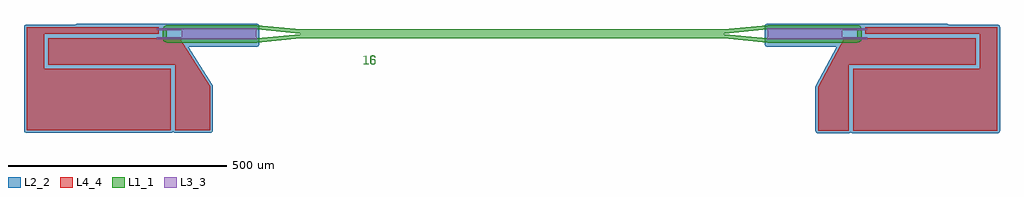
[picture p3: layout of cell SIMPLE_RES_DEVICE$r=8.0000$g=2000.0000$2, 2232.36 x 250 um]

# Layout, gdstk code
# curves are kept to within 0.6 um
import gdstk
lib = gdstk.Library(unit=1e-6, precision=1e-10)
def P(c, l, *ps):  # polygons
    for p in ps: c.add(gdstk.Polygon(p, *l))
L1_1 = (1, 1)
L2_2 = (2, 2)
L3_3 = (3, 3)
L4_4 = (4, 4)

simple_res_device_r_8_00 = lib.new_cell('SIMPLE_RES_DEVICE$r=8.0000$g=2000.0000$2')
P(simple_res_device_r_8_00, L1_1, [(-2310.382,-15.25),(-2316.7259,-12.9801),(-2319.2012,-9.964),(-2320.3338,-6.2302),(-2319.9514,17.6528),(-2316.7259,22.4801),(-2311.3622,24.7018),(-2105.182,24.75),(-2004.713,15.35),(-1520.6,15.35),(-1520.6,5.35),(-2005.182,5.35),(-2105.182,14.75),(-2310.382,14.75),(-2310.382,-5.25),(-2105.182,-5.25),(-2005.182,4.15),(-1520.6,4.15),(-1520.6,-5.85),(-2004.713,-5.85),(-2105.182,-15.25)],
  [(-936.018,-15.25),(-1036.487,-5.85),(-1520.6,-5.85),(-1520.6,4.15),(-1036.018,4.15),(-936.018,-5.25),(-730.818,-5.25),(-730.818,14.75),(-936.018,14.75),(-1036.018,5.35),(-1520.6,5.35),(-1520.6,15.35),(-1036.487,15.35),(-936.018,24.75),(-730.818,24.75),(-724.4741,22.4801),(-721.2486,17.6528),(-720.818,-5.25),(-721.5792,-9.0768),(-723.7469,-12.3211),(-726.9912,-14.4888),(-730.818,-15.25)],
  [(-1839.755,-65.578),(-1842.103,-65.172),(-1843.107,-64.724),(-1844.055,-63.972),(-1844.601,-63.122),(-1844.879,-62.086),(-1844.893,-48.736),(-1844.419,-46.78),(-1843.723,-45.988),(-1842.689,-45.36),(-1840.317,-44.846),(-1838.215,-44.848),(-1835.843,-45.362),(-1834.261,-46.496),(-1833.637,-48.086),(-1833.637,-49.724),(-1835.123,-49.724),(-1835.123,-48.282),(-1835.653,-47.306),(-1836.657,-46.692),(-1837.779,-46.344),(-1838.807,-46.22),(-1840.933,-46.456),(-1842.063,-46.906),(-1842.925,-47.546),(-1843.407,-48.546),(-1843.407,-61.724),(-1843.075,-62.788),(-1842.199,-63.52),(-1839.843,-64.2),(-1837.565,-64.074),(-1836.427,-63.696),(-1835.471,-63.08),(-1834.879,-62.18),(-1834.879,-57.108),(-1835.211,-56.026),(-1836.071,-55.288),(-1838.357,-54.696),(-1840.539,-54.772),(-1841.653,-55.056),(-1842.381,-55.544),(-1842.381,-54.044),(-1841.415,-53.644),(-1839.013,-53.334),(-1836.531,-53.558),(-1835.345,-53.962),(-1834.325,-54.626),(-1833.629,-55.65),(-1833.393,-56.688),(-1833.393,-61.724),(-1833.519,-62.82),(-1834.057,-63.896),(-1834.887,-64.648),(-1836.997,-65.42)],
  [(-1860.601,-65.22),(-1860.601,-63.87),(-1855.289,-63.87),(-1855.289,-46.736),(-1860.601,-48.1),(-1860.601,-46.7),(-1853.805,-44.946),(-1853.805,-63.87),(-1848.353,-63.87),(-1848.353,-63.87),(-1848.353,-65.22)])
P(simple_res_device_r_8_00, L2_2, [(-820.818,-222.5),(-824.6244,-221.1381),(-826.7891,-217.0881),(-826.7005,-115.3184),(-777.9087,-24.5),(-938.5597,-24.2416),(-941.4561,-22.3064),(-942.818,-18.5),(-942.7891,22.0881),(-941.8068,24.8334),(-939.6464,26.7915),(-936.818,27.5),(-526.818,27.5),(-522.3554,25.5),(-410.818,25.5),(-407.9896,24.7915),(-405.5265,22.3284),(-404.818,19.5),(-404.818,-216.5),(-405.5265,-219.3284),(-407.9896,-221.7915),(-410.818,-222.5),(-740.818,-222.5),(-743.6464,-221.7915),(-745.818,-219.8148),(-747.9896,-221.7915),(-750.818,-222.5)],
  [(-2631.182,-221.5),(-2635.4246,-219.7426),(-2637.182,-215.5),(-2637.182,19.5),(-2636.1708,22.8334),(-2633.4781,25.0433),(-2519.6446,25.5),(-2515.182,27.5),(-2105.182,27.5),(-2101.8486,26.4888),(-2099.6387,23.7961),(-2099.2109,-19.0881),(-2100.5439,-22.3064),(-2103.4403,-24.2416),(-2261.9792,-24.5),(-2205.4213,-113.8225),(-2205.182,-215.5),(-2206.1932,-218.8334),(-2208.8859,-221.0433),(-2291.182,-221.5),(-2294.0104,-220.7915),(-2296.182,-218.8148),(-2298.3536,-220.7915),(-2301.182,-221.5)])
P(simple_res_device_r_8_00, L3_3, [(-936.818,-8),(-936.818,-3),(-936.363,-3),(-936.363,11.75),(-935.918,11.75),(-935.918,-3),(-935.918,-3),(-934.563,-3),(-934.563,11.75),(-934.118,11.75),(-934.118,-3),(-932.763,-3),(-932.763,11.75),(-932.318,11.75),(-932.318,-3),(-930.963,-3),(-930.963,11.75),(-930.518,11.75),(-930.518,-3),(-929.163,-3),(-929.163,11.75),(-928.718,11.75),(-928.718,-3),(-927.363,-3),(-927.363,11.75),(-926.918,11.75),(-926.918,-3),(-925.563,-3),(-925.563,11.75),(-925.118,11.75),(-925.118,-3),(-923.763,-3),(-923.763,11.75),(-923.318,11.75),(-923.318,-3),(-921.963,-3),(-921.963,11.75),(-921.518,11.75),(-921.518,-3),(-920.163,-3),(-920.163,11.75),(-919.718,11.75),(-919.718,-3),(-918.363,-3),(-918.363,11.75),(-917.918,11.75),(-917.918,-3),(-916.563,-3),(-916.563,11.75),(-916.118,11.75),(-916.118,-3),(-914.763,-3),(-914.763,11.75),(-914.318,11.75),(-914.318,-3),(-912.963,-3),(-912.963,11.75),(-912.518,11.75),(-912.518,-3),(-911.163,-3),(-911.163,11.75),(-910.718,11.75),(-910.718,-3),(-909.363,-3),(-909.363,11.75),(-908.918,11.75),(-908.918,-3),(-907.563,-3),(-907.563,11.75),(-907.118,11.75),(-907.118,-3),(-905.763,-3),(-905.763,11.75),(-905.318,11.75),(-905.318,-3),(-903.963,-3),(-903.963,11.75),(-903.518,11.75),(-903.518,-3),(-902.163,-3),(-902.163,11.75),(-901.718,11.75),(-901.718,-3),(-900.363,-3),(-900.363,11.75),(-899.918,11.75),(-899.918,-3),(-898.563,-3),(-898.563,11.75),(-898.118,11.75),(-898.118,-3),(-896.763,-3),(-896.763,11.75),(-896.318,11.75),(-896.318,-3),(-894.963,-3),(-894.963,11.75),(-894.518,11.75),(-894.518,-3),(-893.163,-3),(-893.163,11.75),(-892.718,11.75),(-892.718,-3),(-891.363,-3),(-891.363,11.75),(-890.918,11.75),(-890.918,-3),(-889.563,-3),(-889.563,11.75),(-889.118,11.75),(-889.118,-3),(-887.763,-3),(-887.763,11.75),(-887.318,11.75),(-887.318,-3),(-885.963,-3),(-885.963,11.75),(-885.518,11.75),(-885.518,-3),(-884.163,-3),(-884.163,11.75),(-883.718,11.75),(-883.718,-3),(-882.363,-3),(-882.363,11.75),(-881.918,11.75),(-881.918,-3),(-880.563,-3),(-880.563,11.75),(-880.118,11.75),(-880.118,-3),(-878.763,-3),(-878.763,11.75),(-878.318,11.75),(-878.318,-3),(-876.963,-3),(-876.963,11.75),(-876.518,11.75),(-876.518,-3),(-875.163,-3),(-875.163,11.75),(-874.718,11.75),(-874.718,-3),(-873.363,-3),(-873.363,11.75),(-872.918,11.75),(-872.918,-3),(-871.563,-3),(-871.563,11.75),(-871.118,11.75),(-871.118,-3),(-869.763,-3),(-869.763,11.75),(-869.318,11.75),(-869.318,-3),(-867.963,-3),(-867.963,11.75),(-867.518,11.75),(-867.518,-3),(-866.163,-3),(-866.163,11.75),(-865.718,11.75),(-865.718,-3),(-864.363,-3),(-864.363,11.75),(-863.918,11.75),(-863.918,-3),(-862.563,-3),(-862.563,11.75),(-862.118,11.75),(-862.118,-3),(-860.763,-3),(-860.763,11.75),(-860.318,11.75),(-860.318,-3),(-858.963,-3),(-858.963,11.75),(-858.518,11.75),(-858.518,-3),(-857.163,-3),(-857.163,11.75),(-856.718,11.75),(-856.718,-3),(-855.363,-3),(-855.363,11.75),(-854.918,11.75),(-854.918,-3),(-853.563,-3),(-853.563,11.75),(-853.118,11.75),(-853.118,-3),(-851.763,-3),(-851.763,11.75),(-851.318,11.75),(-851.318,-3),(-849.963,-3),(-849.963,11.75),(-849.518,11.75),(-849.518,-3),(-848.163,-3),(-848.163,11.75),(-847.718,11.75),(-847.718,-3),(-846.363,-3),(-846.363,11.75),(-845.918,11.75),(-845.918,-3),(-844.563,-3),(-844.563,11.75),(-844.118,11.75),(-844.118,-3),(-842.763,-3),(-842.763,11.75),(-842.318,11.75),(-842.318,-3),(-840.963,-3),(-840.963,11.75),(-840.518,11.75),(-840.518,-3),(-839.163,-3),(-839.163,11.75),(-838.718,11.75),(-838.718,-3),(-837.363,-3),(-837.363,11.75),(-836.918,11.75),(-836.918,-3),(-835.563,-3),(-835.563,11.75),(-835.118,11.75),(-835.118,-3),(-833.763,-3),(-833.763,11.75),(-833.318,11.75),(-833.318,-3),(-831.963,-3),(-831.963,11.75),(-831.518,11.75),(-831.518,-3),(-830.163,-3),(-830.163,11.75),(-829.718,11.75),(-829.718,-3),(-828.363,-3),(-828.363,11.75),(-827.918,11.75),(-827.918,-3),(-826.563,-3),(-826.563,11.75),(-826.118,11.75),(-826.118,-3),(-824.763,-3),(-824.763,11.75),(-824.318,11.75),(-824.318,-3),(-822.963,-3),(-822.963,11.75),(-822.518,11.75),(-822.518,-3),(-821.163,-3),(-821.163,11.75),(-820.718,11.75),(-820.718,-3),(-819.363,-3),(-819.363,11.75),(-818.918,11.75),(-818.918,-3),(-817.563,-3),(-817.563,11.75),(-817.118,11.75),(-817.118,-3),(-815.763,-3),(-815.763,11.75),(-815.318,11.75),(-815.318,-3),(-813.963,-3),(-813.963,11.75),(-813.518,11.75),(-813.518,-3),(-812.163,-3),(-812.163,11.75),(-811.718,11.75),(-811.718,-3),(-810.363,-3),(-810.363,11.75),(-809.918,11.75),(-809.918,-3),(-808.563,-3),(-808.563,11.75),(-808.118,11.75),(-808.118,-3),(-806.763,-3),(-806.763,11.75),(-806.318,11.75),(-806.318,-3),(-804.963,-3),(-804.963,11.75),(-804.518,11.75),(-804.518,-3),(-803.163,-3),(-803.163,11.75),(-802.718,11.75),(-802.718,-3),(-801.363,-3),(-801.363,11.75),(-800.918,11.75),(-800.918,-3),(-799.563,-3),(-799.563,11.75),(-799.118,11.75),(-799.118,-3),(-797.763,-3),(-797.763,11.75),(-797.318,11.75),(-797.318,-3),(-795.963,-3),(-795.963,11.75),(-795.518,11.75),(-795.518,-3),(-794.163,-3),(-794.163,11.75),(-793.718,11.75),(-793.718,-3),(-792.363,-3),(-792.363,11.75),(-791.918,11.75),(-791.918,-3),(-790.563,-3),(-790.563,11.75),(-790.118,11.75),(-790.118,-3),(-788.763,-3),(-788.763,11.75),(-788.318,11.75),(-788.318,-3),(-786.963,-3),(-786.963,11.75),(-786.518,11.75),(-786.518,-3),(-785.163,-3),(-785.163,11.75),(-784.718,11.75),(-784.718,-3),(-783.363,-3),(-783.363,11.75),(-782.918,11.75),(-782.918,-3),(-781.563,-3),(-781.563,11.75),(-781.118,11.75),(-781.118,-3),(-779.763,-3),(-779.763,11.75),(-779.318,11.75),(-779.318,-3),(-777.963,-3),(-777.963,11.75),(-777.518,11.75),(-777.518,-3),(-776.163,-3),(-776.163,11.75),(-775.718,11.75),(-775.718,-3),(-774.363,-3),(-774.363,11.75),(-773.918,11.75),(-773.918,-3),(-772.563,-3),(-772.563,11.75),(-772.118,11.75),(-772.118,-3),(-770.763,-3),(-770.763,11.75),(-770.318,11.75),(-770.318,-3),(-768.963,-3),(-768.963,11.75),(-768.518,11.75),(-768.518,-3),(-767.163,-3),(-767.163,11.75),(-766.718,11.75),(-766.718,-3),(-708.818,-3),(-708.818,-8)],
  [(-935.463,-2.25),(-935.463,12.5),(-936.818,12.5),(-936.818,17.5),(-708.818,17.5),(-708.818,12.5),(-765.818,12.5),(-765.818,-2.25),(-766.263,-2.25),(-766.263,12.5),(-767.618,12.5),(-767.618,-2.25),(-768.063,-2.25),(-768.063,12.5),(-769.418,12.5),(-769.418,-2.25),(-769.863,-2.25),(-769.863,12.5),(-771.218,12.5),(-771.218,-2.25),(-771.663,-2.25),(-771.663,12.5),(-773.018,12.5),(-773.018,-2.25),(-773.463,-2.25),(-773.463,12.5),(-774.818,12.5),(-774.818,-2.25),(-775.263,-2.25),(-775.263,12.5),(-776.618,12.5),(-776.618,-2.25),(-777.063,-2.25),(-777.063,12.5),(-778.418,12.5),(-778.418,-2.25),(-778.863,-2.25),(-778.863,12.5),(-780.218,12.5),(-780.218,-2.25),(-780.663,-2.25),(-780.663,12.5),(-782.018,12.5),(-782.018,-2.25),(-782.463,-2.25),(-782.463,12.5),(-783.818,12.5),(-783.818,-2.25),(-784.263,-2.25),(-784.263,12.5),(-785.618,12.5),(-785.618,-2.25),(-786.063,-2.25),(-786.063,12.5),(-787.418,12.5),(-787.418,-2.25),(-787.863,-2.25),(-787.863,12.5),(-789.218,12.5),(-789.218,-2.25),(-789.663,-2.25),(-789.663,12.5),(-791.018,12.5),(-791.018,-2.25),(-791.463,-2.25),(-791.463,12.5),(-792.818,12.5),(-792.818,-2.25),(-793.263,-2.25),(-793.263,12.5),(-794.618,12.5),(-794.618,-2.25),(-795.063,-2.25),(-795.063,12.5),(-796.418,12.5),(-796.418,-2.25),(-796.863,-2.25),(-796.863,12.5),(-798.218,12.5),(-798.218,-2.25),(-798.663,-2.25),(-798.663,12.5),(-800.018,12.5),(-800.018,-2.25),(-800.463,-2.25),(-800.463,12.5),(-801.818,12.5),(-801.818,-2.25),(-802.263,-2.25),(-802.263,12.5),(-803.618,12.5),(-803.618,-2.25),(-804.063,-2.25),(-804.063,12.5),(-805.418,12.5),(-805.418,-2.25),(-805.863,-2.25),(-805.863,12.5),(-807.218,12.5),(-807.218,-2.25),(-807.663,-2.25),(-807.663,12.5),(-809.018,12.5),(-809.018,-2.25),(-809.463,-2.25),(-809.463,12.5),(-810.818,12.5),(-810.818,-2.25),(-811.263,-2.25),(-811.263,12.5),(-812.618,12.5),(-812.618,-2.25),(-813.063,-2.25),(-813.063,12.5),(-814.418,12.5),(-814.418,-2.25),(-814.863,-2.25),(-814.863,12.5),(-816.218,12.5),(-816.218,-2.25),(-816.663,-2.25),(-816.663,12.5),(-818.018,12.5),(-818.018,-2.25),(-818.463,-2.25),(-818.463,12.5),(-819.818,12.5),(-819.818,-2.25),(-820.263,-2.25),(-820.263,12.5),(-821.618,12.5),(-821.618,-2.25),(-822.063,-2.25),(-822.063,12.5),(-823.418,12.5),(-823.418,-2.25),(-823.863,-2.25),(-823.863,12.5),(-825.218,12.5),(-825.218,-2.25),(-825.663,-2.25),(-825.663,12.5),(-827.018,12.5),(-827.018,-2.25),(-827.463,-2.25),(-827.463,12.5),(-828.818,12.5),(-828.818,-2.25),(-829.263,-2.25),(-829.263,12.5),(-830.618,12.5),(-830.618,-2.25),(-831.063,-2.25),(-831.063,12.5),(-832.418,12.5),(-832.418,-2.25),(-832.863,-2.25),(-832.863,12.5),(-834.218,12.5),(-834.218,-2.25),(-834.663,-2.25),(-834.663,12.5),(-836.018,12.5),(-836.018,-2.25),(-836.463,-2.25),(-836.463,12.5),(-837.818,12.5),(-837.818,-2.25),(-838.263,-2.25),(-838.263,12.5),(-839.618,12.5),(-839.618,-2.25),(-840.063,-2.25),(-840.063,12.5),(-841.418,12.5),(-841.418,-2.25),(-841.863,-2.25),(-841.863,12.5),(-843.218,12.5),(-843.218,-2.25),(-843.663,-2.25),(-843.663,12.5),(-845.018,12.5),(-845.018,-2.25),(-845.463,-2.25),(-845.463,12.5),(-846.818,12.5),(-846.818,-2.25),(-847.263,-2.25),(-847.263,12.5),(-848.618,12.5),(-848.618,-2.25),(-849.063,-2.25),(-849.063,12.5),(-850.418,12.5),(-850.418,-2.25),(-850.863,-2.25),(-850.863,12.5),(-852.218,12.5),(-852.218,-2.25),(-852.663,-2.25),(-852.663,12.5),(-854.018,12.5),(-854.018,-2.25),(-854.463,-2.25),(-854.463,12.5),(-855.818,12.5),(-855.818,-2.25),(-856.263,-2.25),(-856.263,12.5),(-857.618,12.5),(-857.618,-2.25),(-858.063,-2.25),(-858.063,12.5),(-859.418,12.5),(-859.418,-2.25),(-859.863,-2.25),(-859.863,12.5),(-861.218,12.5),(-861.218,-2.25),(-861.663,-2.25),(-861.663,12.5),(-863.018,12.5),(-863.018,-2.25),(-863.463,-2.25),(-863.463,12.5),(-864.818,12.5),(-864.818,-2.25),(-865.263,-2.25),(-865.263,12.5),(-866.618,12.5),(-866.618,-2.25),(-867.063,-2.25),(-867.063,12.5),(-868.418,12.5),(-868.418,-2.25),(-868.863,-2.25),(-868.863,12.5),(-870.218,12.5),(-870.218,-2.25),(-870.663,-2.25),(-870.663,12.5),(-872.018,12.5),(-872.018,-2.25),(-872.463,-2.25),(-872.463,12.5),(-873.818,12.5),(-873.818,-2.25),(-874.263,-2.25),(-874.263,12.5),(-875.618,12.5),(-875.618,-2.25),(-876.063,-2.25),(-876.063,12.5),(-877.418,12.5),(-877.418,-2.25),(-877.863,-2.25),(-877.863,12.5),(-879.218,12.5),(-879.218,-2.25),(-879.663,-2.25),(-879.663,12.5),(-881.018,12.5),(-881.018,-2.25),(-881.463,-2.25),(-881.463,12.5),(-882.818,12.5),(-882.818,-2.25),(-883.263,-2.25),(-883.263,12.5),(-884.618,12.5),(-884.618,-2.25),(-885.063,-2.25),(-885.063,12.5),(-886.418,12.5),(-886.418,-2.25),(-886.863,-2.25),(-886.863,12.5),(-888.218,12.5),(-888.218,-2.25),(-888.663,-2.25),(-888.663,12.5),(-890.018,12.5),(-890.018,-2.25),(-890.463,-2.25),(-890.463,12.5),(-891.818,12.5),(-891.818,-2.25),(-892.263,-2.25),(-892.263,12.5),(-893.618,12.5),(-893.618,-2.25),(-894.063,-2.25),(-894.063,12.5),(-895.418,12.5),(-895.418,-2.25),(-895.863,-2.25),(-895.863,12.5),(-897.218,12.5),(-897.218,-2.25),(-897.663,-2.25),(-897.663,12.5),(-899.018,12.5),(-899.018,-2.25),(-899.463,-2.25),(-899.463,12.5),(-900.818,12.5),(-900.818,-2.25),(-901.263,-2.25),(-901.263,12.5),(-902.618,12.5),(-902.618,-2.25),(-903.063,-2.25),(-903.063,12.5),(-904.418,12.5),(-904.418,-2.25),(-904.863,-2.25),(-904.863,12.5),(-906.218,12.5),(-906.218,-2.25),(-906.663,-2.25),(-906.663,12.5),(-908.018,12.5),(-908.018,-2.25),(-908.463,-2.25),(-908.463,12.5),(-909.818,12.5),(-909.818,-2.25),(-910.263,-2.25),(-910.263,12.5),(-911.618,12.5),(-911.618,-2.25),(-912.063,-2.25),(-912.063,12.5),(-913.418,12.5),(-913.418,-2.25),(-913.863,-2.25),(-913.863,12.5),(-915.218,12.5),(-915.218,-2.25),(-915.663,-2.25),(-915.663,12.5),(-917.018,12.5),(-917.018,-2.25),(-917.463,-2.25),(-917.463,12.5),(-918.818,12.5),(-918.818,-2.25),(-919.263,-2.25),(-919.263,12.5),(-920.618,12.5),(-920.618,-2.25),(-921.063,-2.25),(-921.063,12.5),(-922.418,12.5),(-922.418,-2.25),(-922.863,-2.25),(-922.863,12.5),(-924.218,12.5),(-924.218,-2.25),(-924.663,-2.25),(-924.663,12.5),(-926.018,12.5),(-926.018,-2.25),(-926.463,-2.25),(-926.463,12.5),(-927.818,12.5),(-927.818,-2.25),(-928.263,-2.25),(-928.263,12.5),(-929.618,12.5),(-929.618,-2.25),(-930.063,-2.25),(-930.063,12.5),(-930.063,12.5),(-931.418,12.5),(-931.418,-2.25),(-931.863,-2.25),(-931.863,12.5),(-933.218,12.5),(-933.218,-2.25),(-933.663,-2.25),(-933.663,12.5),(-935.018,12.5),(-935.018,-2.25)],
  [(-2333.182,-8),(-2333.182,-3),(-2275.282,-3),(-2275.282,11.75),(-2274.837,11.75),(-2274.837,-3),(-2273.482,-3),(-2273.482,11.75),(-2273.037,11.75),(-2273.037,-3),(-2271.682,-3),(-2271.682,11.75),(-2271.237,11.75),(-2271.237,-3),(-2269.882,-3),(-2269.882,11.75),(-2269.437,11.75),(-2269.437,-3),(-2268.082,-3),(-2268.082,11.75),(-2267.637,11.75),(-2267.637,-3),(-2266.282,-3),(-2266.282,11.75),(-2265.837,11.75),(-2265.837,-3),(-2264.482,-3),(-2264.482,11.75),(-2264.037,11.75),(-2264.037,-3),(-2262.682,-3),(-2262.682,11.75),(-2262.237,11.75),(-2262.237,-3),(-2260.882,-3),(-2260.882,11.75),(-2260.437,11.75),(-2260.437,-3),(-2259.082,-3),(-2259.082,11.75),(-2258.637,11.75),(-2258.637,-3),(-2258.637,-3),(-2257.282,-3),(-2257.282,11.75),(-2256.837,11.75),(-2256.837,-3),(-2255.482,-3),(-2255.482,11.75),(-2255.037,11.75),(-2255.037,-3),(-2253.682,-3),(-2253.682,11.75),(-2253.237,11.75),(-2253.237,-3),(-2251.882,-3),(-2251.882,11.75),(-2251.437,11.75),(-2251.437,-3),(-2250.082,-3),(-2250.082,11.75),(-2249.637,11.75),(-2249.637,-3),(-2248.282,-3),(-2248.282,11.75),(-2247.837,11.75),(-2247.837,-3),(-2246.482,-3),(-2246.482,11.75),(-2246.037,11.75),(-2246.037,-3),(-2244.682,-3),(-2244.682,11.75),(-2244.237,11.75),(-2244.237,-3),(-2242.882,-3),(-2242.882,11.75),(-2242.437,11.75),(-2242.437,-3),(-2241.082,-3),(-2241.082,11.75),(-2240.637,11.75),(-2240.637,-3),(-2239.282,-3),(-2239.282,11.75),(-2238.837,11.75),(-2238.837,-3),(-2237.482,-3),(-2237.482,11.75),(-2237.037,11.75),(-2237.037,-3),(-2235.682,-3),(-2235.682,11.75),(-2235.237,11.75),(-2235.237,-3),(-2233.882,-3),(-2233.882,11.75),(-2233.437,11.75),(-2233.437,-3),(-2232.082,-3),(-2232.082,11.75),(-2231.637,11.75),(-2231.637,-3),(-2230.282,-3),(-2230.282,11.75),(-2229.837,11.75),(-2229.837,-3),(-2228.482,-3),(-2228.482,11.75),(-2228.037,11.75),(-2228.037,-3),(-2226.682,-3),(-2226.682,11.75),(-2226.237,11.75),(-2226.237,-3),(-2224.882,-3),(-2224.882,11.75),(-2224.437,11.75),(-2224.437,-3),(-2223.082,-3),(-2223.082,11.75),(-2222.637,11.75),(-2222.637,-3),(-2221.282,-3),(-2221.282,11.75),(-2220.837,11.75),(-2220.837,-3),(-2219.482,-3),(-2219.482,11.75),(-2219.037,11.75),(-2219.037,-3),(-2217.682,-3),(-2217.682,11.75),(-2217.237,11.75),(-2217.237,-3),(-2215.882,-3),(-2215.882,11.75),(-2215.437,11.75),(-2215.437,-3),(-2214.082,-3),(-2214.082,11.75),(-2213.637,11.75),(-2213.637,-3),(-2212.282,-3),(-2212.282,11.75),(-2211.837,11.75),(-2211.837,-3),(-2210.482,-3),(-2210.482,11.75),(-2210.037,11.75),(-2210.037,-3),(-2208.682,-3),(-2208.682,11.75),(-2208.237,11.75),(-2208.237,-3),(-2206.882,-3),(-2206.882,11.75),(-2206.437,11.75),(-2206.437,-3),(-2205.082,-3),(-2205.082,11.75),(-2204.637,11.75),(-2204.637,-3),(-2203.282,-3),(-2203.282,11.75),(-2202.837,11.75),(-2202.837,-3),(-2201.482,-3),(-2201.482,11.75),(-2201.037,11.75),(-2201.037,-3),(-2199.682,-3),(-2199.682,11.75),(-2199.237,11.75),(-2199.237,-3),(-2197.882,-3),(-2197.882,11.75),(-2197.437,11.75),(-2197.437,-3),(-2196.082,-3),(-2196.082,11.75),(-2195.637,11.75),(-2195.637,-3),(-2194.282,-3),(-2194.282,11.75),(-2193.837,11.75),(-2193.837,-3),(-2192.482,-3),(-2192.482,11.75),(-2192.037,11.75),(-2192.037,-3),(-2190.682,-3),(-2190.682,11.75),(-2190.237,11.75),(-2190.237,-3),(-2188.882,-3),(-2188.882,11.75),(-2188.437,11.75),(-2188.437,-3),(-2187.082,-3),(-2187.082,11.75),(-2186.637,11.75),(-2186.637,-3),(-2185.282,-3),(-2185.282,11.75),(-2184.837,11.75),(-2184.837,-3),(-2183.482,-3),(-2183.482,11.75),(-2183.037,11.75),(-2183.037,-3),(-2181.682,-3),(-2181.682,11.75),(-2181.237,11.75),(-2181.237,-3),(-2179.882,-3),(-2179.882,11.75),(-2179.437,11.75),(-2179.437,-3),(-2178.082,-3),(-2178.082,11.75),(-2177.637,11.75),(-2177.637,-3),(-2176.282,-3),(-2176.282,11.75),(-2175.837,11.75),(-2175.837,-3),(-2174.482,-3),(-2174.482,11.75),(-2174.037,11.75),(-2174.037,-3),(-2172.682,-3),(-2172.682,11.75),(-2172.237,11.75),(-2172.237,-3),(-2170.882,-3),(-2170.882,11.75),(-2170.437,11.75),(-2170.437,-3),(-2169.082,-3),(-2169.082,11.75),(-2168.637,11.75),(-2168.637,-3),(-2167.282,-3),(-2167.282,11.75),(-2166.837,11.75),(-2166.837,-3),(-2165.482,-3),(-2165.482,11.75),(-2165.037,11.75),(-2165.037,-3),(-2163.682,-3),(-2163.682,11.75),(-2163.237,11.75),(-2163.237,-3),(-2161.882,-3),(-2161.882,11.75),(-2161.437,11.75),(-2161.437,-3),(-2160.082,-3),(-2160.082,11.75),(-2159.637,11.75),(-2159.637,-3),(-2158.282,-3),(-2158.282,11.75),(-2157.837,11.75),(-2157.837,-3),(-2156.482,-3),(-2156.482,11.75),(-2156.037,11.75),(-2156.037,-3),(-2154.682,-3),(-2154.682,11.75),(-2154.237,11.75),(-2154.237,-3),(-2152.882,-3),(-2152.882,11.75),(-2152.437,11.75),(-2152.437,-3),(-2151.082,-3),(-2151.082,11.75),(-2150.637,11.75),(-2150.637,-3),(-2149.282,-3),(-2149.282,11.75),(-2148.837,11.75),(-2148.837,-3),(-2147.482,-3),(-2147.482,11.75),(-2147.037,11.75),(-2147.037,-3),(-2145.682,-3),(-2145.682,11.75),(-2145.237,11.75),(-2145.237,-3),(-2143.882,-3),(-2143.882,11.75),(-2143.437,11.75),(-2143.437,-3),(-2142.082,-3),(-2142.082,11.75),(-2141.637,11.75),(-2141.637,-3),(-2140.282,-3),(-2140.282,11.75),(-2139.837,11.75),(-2139.837,-3),(-2138.482,-3),(-2138.482,11.75),(-2138.037,11.75),(-2138.037,-3),(-2136.682,-3),(-2136.682,11.75),(-2136.237,11.75),(-2136.237,-3),(-2134.882,-3),(-2134.882,11.75),(-2134.437,11.75),(-2134.437,-3),(-2133.082,-3),(-2133.082,11.75),(-2132.637,11.75),(-2132.637,-3),(-2131.282,-3),(-2131.282,11.75),(-2130.837,11.75),(-2130.837,-3),(-2129.482,-3),(-2129.482,11.75),(-2129.037,11.75),(-2129.037,-3),(-2127.682,-3),(-2127.682,11.75),(-2127.237,11.75),(-2127.237,-3),(-2125.882,-3),(-2125.882,11.75),(-2125.437,11.75),(-2125.437,-3),(-2124.082,-3),(-2124.082,11.75),(-2123.637,11.75),(-2123.637,-3),(-2122.282,-3),(-2122.282,11.75),(-2121.837,11.75),(-2121.837,-3),(-2120.482,-3),(-2120.482,11.75),(-2120.037,11.75),(-2120.037,-3),(-2118.682,-3),(-2118.682,11.75),(-2118.237,11.75),(-2118.237,-3),(-2116.882,-3),(-2116.882,11.75),(-2116.437,11.75),(-2116.437,-3),(-2115.082,-3),(-2115.082,11.75),(-2114.637,11.75),(-2114.637,-3),(-2113.282,-3),(-2113.282,11.75),(-2112.837,11.75),(-2112.837,-3),(-2111.482,-3),(-2111.482,11.75),(-2111.037,11.75),(-2111.037,-3),(-2109.682,-3),(-2109.682,11.75),(-2109.237,11.75),(-2109.237,-3),(-2107.882,-3),(-2107.882,11.75),(-2107.437,11.75),(-2107.437,-3),(-2106.082,-3),(-2106.082,11.75),(-2105.637,11.75),(-2105.637,-3),(-2105.182,-3),(-2105.182,-8)],
  [(-2276.182,-2.25),(-2276.182,12.5),(-2333.182,12.5),(-2333.182,17.5),(-2105.182,17.5),(-2105.182,12.5),(-2106.537,12.5),(-2106.537,-2.25),(-2106.982,-2.25),(-2106.982,12.5),(-2108.337,12.5),(-2108.337,-2.25),(-2108.782,-2.25),(-2108.782,12.5),(-2110.137,12.5),(-2110.137,-2.25),(-2110.582,-2.25),(-2110.582,12.5),(-2111.937,12.5),(-2111.937,-2.25),(-2112.382,-2.25),(-2112.382,12.5),(-2113.737,12.5),(-2113.737,-2.25),(-2114.182,-2.25),(-2114.182,12.5),(-2115.537,12.5),(-2115.537,-2.25),(-2115.982,-2.25),(-2115.982,12.5),(-2117.337,12.5),(-2117.337,-2.25),(-2117.782,-2.25),(-2117.782,12.5),(-2119.137,12.5),(-2119.137,-2.25),(-2119.582,-2.25),(-2119.582,12.5),(-2120.937,12.5),(-2120.937,-2.25),(-2121.382,-2.25),(-2121.382,12.5),(-2122.737,12.5),(-2122.737,-2.25),(-2123.182,-2.25),(-2123.182,12.5),(-2124.537,12.5),(-2124.537,-2.25),(-2124.982,-2.25),(-2124.982,12.5),(-2126.337,12.5),(-2126.337,-2.25),(-2126.782,-2.25),(-2126.782,12.5),(-2128.137,12.5),(-2128.137,-2.25),(-2128.582,-2.25),(-2128.582,12.5),(-2129.937,12.5),(-2129.937,-2.25),(-2130.382,-2.25),(-2130.382,12.5),(-2131.737,12.5),(-2131.737,-2.25),(-2132.182,-2.25),(-2132.182,12.5),(-2133.537,12.5),(-2133.537,-2.25),(-2133.982,-2.25),(-2133.982,12.5),(-2135.337,12.5),(-2135.337,-2.25),(-2135.782,-2.25),(-2135.782,12.5),(-2137.137,12.5),(-2137.137,-2.25),(-2137.582,-2.25),(-2137.582,12.5),(-2138.937,12.5),(-2138.937,-2.25),(-2139.382,-2.25),(-2139.382,12.5),(-2140.737,12.5),(-2140.737,-2.25),(-2141.182,-2.25),(-2141.182,12.5),(-2142.537,12.5),(-2142.537,-2.25),(-2142.982,-2.25),(-2142.982,12.5),(-2144.337,12.5),(-2144.337,-2.25),(-2144.782,-2.25),(-2144.782,12.5),(-2146.137,12.5),(-2146.137,-2.25),(-2146.582,-2.25),(-2146.582,12.5),(-2147.937,12.5),(-2147.937,-2.25),(-2148.382,-2.25),(-2148.382,12.5),(-2149.737,12.5),(-2149.737,-2.25),(-2150.182,-2.25),(-2150.182,12.5),(-2151.537,12.5),(-2151.537,-2.25),(-2151.982,-2.25),(-2151.982,12.5),(-2153.337,12.5),(-2153.337,-2.25),(-2153.782,-2.25),(-2153.782,12.5),(-2155.137,12.5),(-2155.137,-2.25),(-2155.582,-2.25),(-2155.582,12.5),(-2156.937,12.5),(-2156.937,-2.25),(-2157.382,-2.25),(-2157.382,12.5),(-2158.737,12.5),(-2158.737,-2.25),(-2159.182,-2.25),(-2159.182,12.5),(-2160.537,12.5),(-2160.537,-2.25),(-2160.982,-2.25),(-2160.982,12.5),(-2162.337,12.5),(-2162.337,-2.25),(-2162.782,-2.25),(-2162.782,12.5),(-2164.137,12.5),(-2164.137,-2.25),(-2164.582,-2.25),(-2164.582,12.5),(-2165.937,12.5),(-2165.937,-2.25),(-2166.382,-2.25),(-2166.382,12.5),(-2167.737,12.5),(-2167.737,-2.25),(-2168.182,-2.25),(-2168.182,12.5),(-2169.537,12.5),(-2169.537,-2.25),(-2169.982,-2.25),(-2169.982,12.5),(-2171.337,12.5),(-2171.337,-2.25),(-2171.782,-2.25),(-2171.782,12.5),(-2173.137,12.5),(-2173.137,-2.25),(-2173.582,-2.25),(-2173.582,12.5),(-2174.937,12.5),(-2174.937,-2.25),(-2175.382,-2.25),(-2175.382,12.5),(-2176.737,12.5),(-2176.737,-2.25),(-2177.182,-2.25),(-2177.182,12.5),(-2178.537,12.5),(-2178.537,-2.25),(-2178.982,-2.25),(-2178.982,12.5),(-2180.337,12.5),(-2180.337,-2.25),(-2180.782,-2.25),(-2180.782,12.5),(-2182.137,12.5),(-2182.137,-2.25),(-2182.582,-2.25),(-2182.582,12.5),(-2183.937,12.5),(-2183.937,-2.25),(-2184.382,-2.25),(-2184.382,12.5),(-2185.737,12.5),(-2185.737,-2.25),(-2186.182,-2.25),(-2186.182,12.5),(-2187.537,12.5),(-2187.537,-2.25),(-2187.982,-2.25),(-2187.982,12.5),(-2189.337,12.5),(-2189.337,-2.25),(-2189.782,-2.25),(-2189.782,12.5),(-2191.137,12.5),(-2191.137,-2.25),(-2191.582,-2.25),(-2191.582,12.5),(-2192.937,12.5),(-2192.937,-2.25),(-2193.382,-2.25),(-2193.382,12.5),(-2194.737,12.5),(-2194.737,-2.25),(-2195.182,-2.25),(-2195.182,12.5),(-2196.537,12.5),(-2196.537,-2.25),(-2196.982,-2.25),(-2196.982,12.5),(-2198.337,12.5),(-2198.337,-2.25),(-2198.782,-2.25),(-2198.782,12.5),(-2200.137,12.5),(-2200.137,-2.25),(-2200.582,-2.25),(-2200.582,12.5),(-2201.937,12.5),(-2201.937,-2.25),(-2202.382,-2.25),(-2202.382,12.5),(-2203.737,12.5),(-2203.737,-2.25),(-2204.182,-2.25),(-2204.182,12.5),(-2205.537,12.5),(-2205.537,-2.25),(-2205.982,-2.25),(-2205.982,12.5),(-2207.337,12.5),(-2207.337,-2.25),(-2207.782,-2.25),(-2207.782,12.5),(-2209.137,12.5),(-2209.137,-2.25),(-2209.582,-2.25),(-2209.582,12.5),(-2210.937,12.5),(-2210.937,-2.25),(-2211.382,-2.25),(-2211.382,12.5),(-2212.737,12.5),(-2212.737,-2.25),(-2213.182,-2.25),(-2213.182,12.5),(-2214.537,12.5),(-2214.537,-2.25),(-2214.982,-2.25),(-2214.982,12.5),(-2216.337,12.5),(-2216.337,-2.25),(-2216.782,-2.25),(-2216.782,12.5),(-2218.137,12.5),(-2218.137,-2.25),(-2218.582,-2.25),(-2218.582,12.5),(-2219.937,12.5),(-2219.937,-2.25),(-2220.382,-2.25),(-2220.382,12.5),(-2221.737,12.5),(-2221.737,-2.25),(-2222.182,-2.25),(-2222.182,12.5),(-2223.537,12.5),(-2223.537,-2.25),(-2223.982,-2.25),(-2223.982,12.5),(-2225.337,12.5),(-2225.337,-2.25),(-2225.782,-2.25),(-2225.782,12.5),(-2227.137,12.5),(-2227.137,-2.25),(-2227.582,-2.25),(-2227.582,12.5),(-2228.937,12.5),(-2228.937,-2.25),(-2229.382,-2.25),(-2229.382,12.5),(-2230.737,12.5),(-2230.737,-2.25),(-2231.182,-2.25),(-2231.182,12.5),(-2232.537,12.5),(-2232.537,-2.25),(-2232.982,-2.25),(-2232.982,12.5),(-2234.337,12.5),(-2234.337,-2.25),(-2234.782,-2.25),(-2234.782,12.5),(-2236.137,12.5),(-2236.137,-2.25),(-2236.582,-2.25),(-2236.582,12.5),(-2237.937,12.5),(-2237.937,-2.25),(-2238.382,-2.25),(-2238.382,12.5),(-2239.737,12.5),(-2239.737,-2.25),(-2240.182,-2.25),(-2240.182,12.5),(-2241.537,12.5),(-2241.537,-2.25),(-2241.982,-2.25),(-2241.982,-2.25),(-2241.982,12.5),(-2243.337,12.5),(-2243.337,-2.25),(-2243.782,-2.25),(-2243.782,12.5),(-2245.137,12.5),(-2245.137,-2.25),(-2245.582,-2.25),(-2245.582,12.5),(-2246.937,12.5),(-2246.937,-2.25),(-2247.382,-2.25),(-2247.382,12.5),(-2248.737,12.5),(-2248.737,-2.25),(-2249.182,-2.25),(-2249.182,12.5),(-2250.537,12.5),(-2250.537,-2.25),(-2250.982,-2.25),(-2250.982,12.5),(-2252.337,12.5),(-2252.337,-2.25),(-2252.782,-2.25),(-2252.782,12.5),(-2254.137,12.5),(-2254.137,-2.25),(-2254.582,-2.25),(-2254.582,12.5),(-2255.937,12.5),(-2255.937,-2.25),(-2256.382,-2.25),(-2256.382,12.5),(-2257.737,12.5),(-2257.737,-2.25),(-2258.182,-2.25),(-2258.182,12.5),(-2259.537,12.5),(-2259.537,-2.25),(-2259.982,-2.25),(-2259.982,12.5),(-2261.337,12.5),(-2261.337,-2.25),(-2261.782,-2.25),(-2261.782,12.5),(-2263.137,12.5),(-2263.137,-2.25),(-2263.582,-2.25),(-2263.582,12.5),(-2264.937,12.5),(-2264.937,-2.25),(-2265.382,-2.25),(-2265.382,12.5),(-2266.737,12.5),(-2266.737,-2.25),(-2267.182,-2.25),(-2267.182,12.5),(-2268.537,12.5),(-2268.537,-2.25),(-2268.982,-2.25),(-2268.982,12.5),(-2270.337,12.5),(-2270.337,-2.25),(-2270.782,-2.25),(-2270.782,12.5),(-2272.137,12.5),(-2272.137,-2.25),(-2272.582,-2.25),(-2272.582,12.5),(-2273.937,12.5),(-2273.937,-2.25),(-2274.382,-2.25),(-2274.382,12.5),(-2275.737,12.5),(-2275.737,-2.25)])
P(simple_res_device_r_8_00, L4_4, [(-820.818,-216.5),(-820.818,-116.5),(-760.818,-5.5),(-460.818,-5.5),(-460.818,-5.5),(-460.818,-65.5),(-750.818,-65.5),(-750.818,-216.5)],
  [(-740.818,-216.5),(-740.818,-75.5),(-450.818,-75.5),(-450.818,4.5),(-712.818,4.5),(-712.818,19.5),(-410.818,19.5),(-410.818,19.5),(-410.818,-216.5)],
  [(-2291.182,-215.5),(-2291.182,-65.5),(-2581.182,-65.5),(-2581.182,-5.5),(-2281.182,-5.5),(-2211.182,-115.5),(-2211.182,-115.5),(-2211.182,-215.5)],
  [(-2631.182,-215.5),(-2631.182,19.5),(-2329.182,19.5),(-2329.182,4.5),(-2329.182,4.5),(-2591.182,4.5),(-2591.182,-75.5),(-2301.182,-75.5),(-2301.182,-215.5)])

lib.write_gds('SIMPLE_RES_DEVICE_r_8.0000_g_2000.0000_2.gds')
